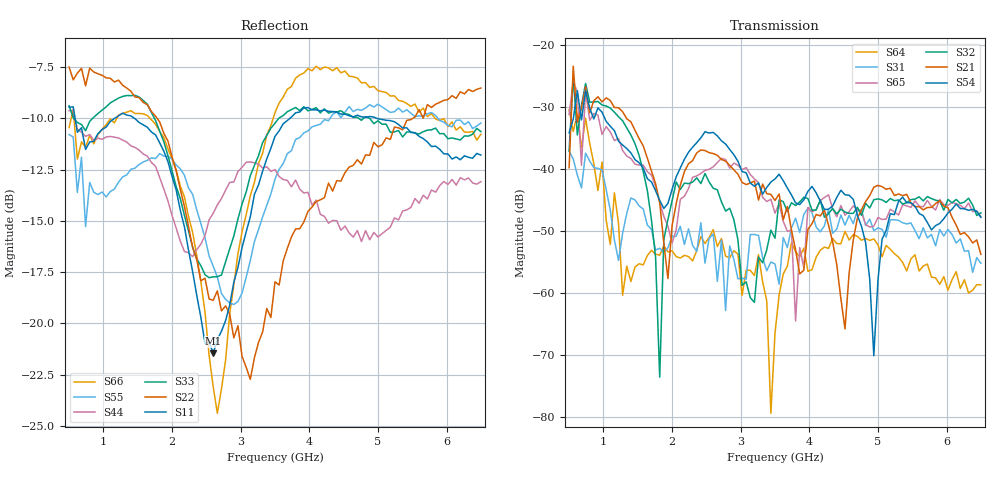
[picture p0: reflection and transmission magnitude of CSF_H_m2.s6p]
!Keysight Technologies,M9804A,MY58100912,A.14.10.03
!Date: Thursday, April 27, 2023 10:28:33
!Correction: S11(C  6-Port  )
!S12(C  6-Port  )
!S13(C  6-Port  )
!S14(C  6-Port  )
!S15(C  6-Port  )
!S16(C  6-Port  )
!S21(C  6-Port  )
!S22(C  6-Port  )
!S23(C  6-Port  )
!S24(C  6-Port  )
!S25(C  6-Port  )
!S26(C  6-Port  )
!S31(C  6-Port  )
!S32(C  6-Port  )
!S33(C  6-Port  )
!S34(C  6-Port  )
!S35(C  6-Port  )
!S36(C  6-Port  )
!S41(C  6-Port  )
!S42(C  6-Port  )
!S43(C  6-Port  )
!S44(C  6-Port  )
!S45(C  6-Port  )
!S46(C  6-Port  )
!S51(C  6-Port  )
!S52(C  6-Port  )
!S53(C  6-Port  )
!S54(C  6-Port  )
!S55(C  6-Port  )
!S56(C  6-Port  )
!S61(C  6-Port  )
!S62(C  6-Port  )
!S63(C  6-Port  )
!S64(C  6-Port  )
!S65(C  6-Port  )
!S66(C  6-Port  )
!S6P File: Measurement: :
# Hz S  RI  R 50
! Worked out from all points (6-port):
!   101 points, 500 MHz to 6.5 GHz, reference 50 ohm
!   strongest paths, dB at 500 MHz, 2 GHz, 3.5 GHz, 5 GHz, 6.5 GHz:
!     S54: -34.1, -43.3, -41.6, -58.0, -47.8
!     S21: -39.8, -49.1, -45.1, -42.6, -53.8
!     S32: -37.0, -45.1, -51.2, -44.8, -47.0
!     S65: -31.2, -51.9, -47.1, -47.8, -47.7
!     S31: -37.1, -50.8, -55.3, -49.5, -55.2
!     S64: -30.4, -53.2, -66.5, -52.2, -58.7
!   lowest |S11| = -21.4 dB at 2.6 GHz (marker M1), VSWR 1.19, Z = 42.5 + j2.08 ohm
!   |S11| at or under -10 dB: 587.2 MHz to 1.162 GHz (575 MHz wide, 65.7 % of centre); 1.453 GHz to 3.717 GHz (2.264 GHz wide, 87.6 % of centre); 4.985 GHz to end of sweep
